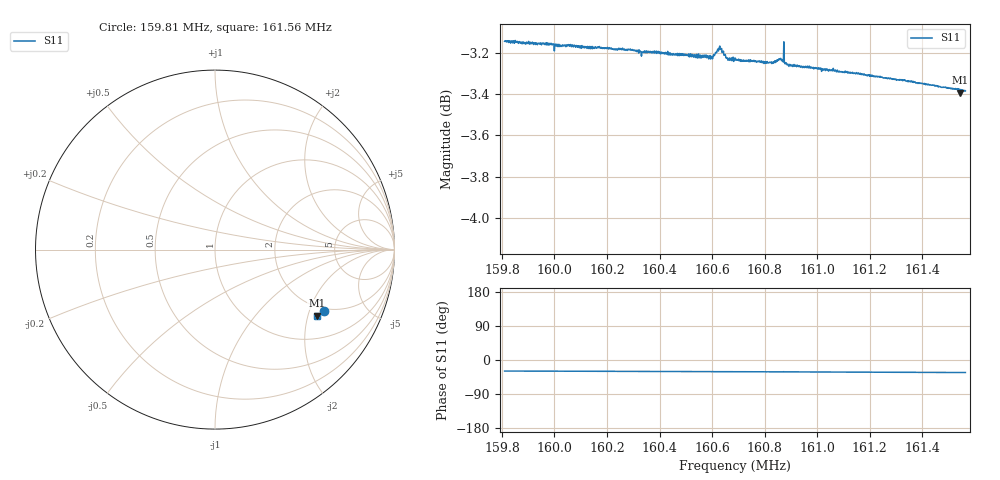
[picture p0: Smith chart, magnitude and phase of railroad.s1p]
! Calibrated averaged scanner-service zoom
# Hz S RI R 50
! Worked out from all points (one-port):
!   1001 points, 159.81 MHz to 161.56 MHz, reference 50 ohm
!   lowest |S11| = -3.4 dB at 161.54 MHz (marker M1), VSWR 5.18, Z = 83.9 - j114 ohm
!   |S11| at or under -10 dB: nowhere
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1.5981e8  0.6081 -0.3393
1.599609e8  0.6059 -0.3418
1.600294e8  0.6042 -0.3426
1.600539e8  0.6045 -0.3433
1.602488e8  0.6005 -0.3463
1.602891e8  0.6001 -0.3473
1.603295e8  0.599 -0.3472
1.603892e8  0.5975 -0.3485
1.604681e8  0.5964 -0.3505
1.605962e8  0.5934 -0.3525
1.606033e8  0.5933 -0.3525
1.606278e8  0.5959 -0.3559
1.606366e8  0.5956 -0.3553
1.606612e8  0.5918 -0.353
1.606875e8  0.592 -0.3544
1.608226e8  0.5885 -0.3568
1.608367e8  0.5888 -0.357
1.608542e8  0.5899 -0.357
1.60863e8  0.59 -0.357
1.608648e8  0.5893 -0.3567
1.608823e8  0.5877 -0.3578
1.608841e8  0.5875 -0.3575
1.608858e8  0.5871 -0.3574
1.609069e8  0.5862 -0.3576
1.611262e8  0.5804 -0.3625
1.613456e8  0.5745 -0.3661
1.615439e8  0.5674 -0.3686
1.61565e8  0.5677 -0.3695
